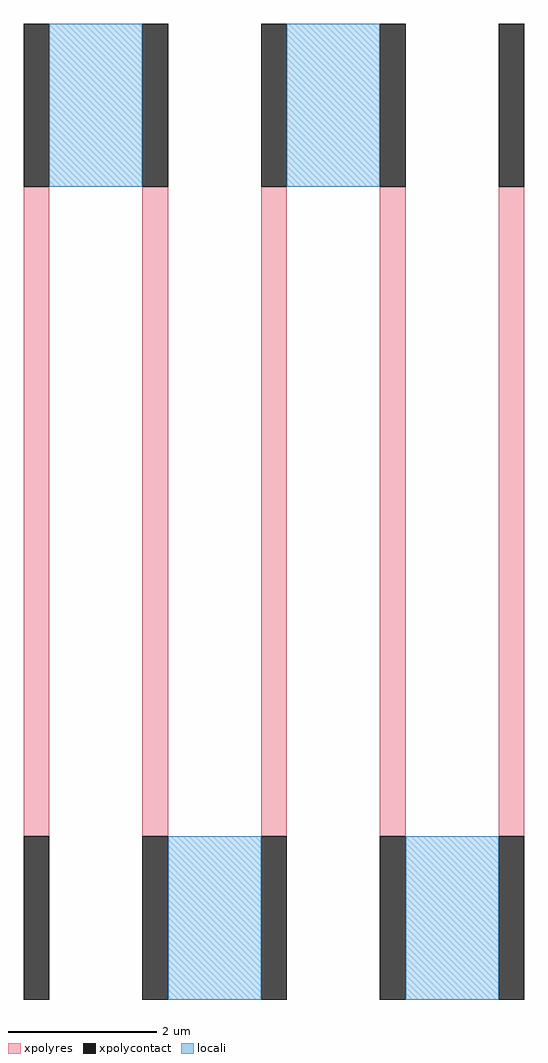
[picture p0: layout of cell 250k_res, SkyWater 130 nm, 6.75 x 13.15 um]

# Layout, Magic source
magic
tech sky130A
<< xpolycontact >>
rect 0 1095 35 1315
rect 0 0 35 220
rect 160 1095 195 1315
rect 160 0 195 220
rect 320 1095 355 1315
rect 320 0 355 220
rect 480 1095 515 1315
rect 480 0 515 220
rect 640 1095 675 1315
rect 640 0 675 220
<< xpolyres >>
rect 0 220 35 1095
rect 160 220 195 1095
rect 320 220 355 1095
rect 480 220 515 1095
rect 640 220 675 1095
<< locali >>
rect 35 1095 160 1315
rect 355 1095 480 1315
rect 195 0 320 220
rect 515 0 640 220
<< end >>
